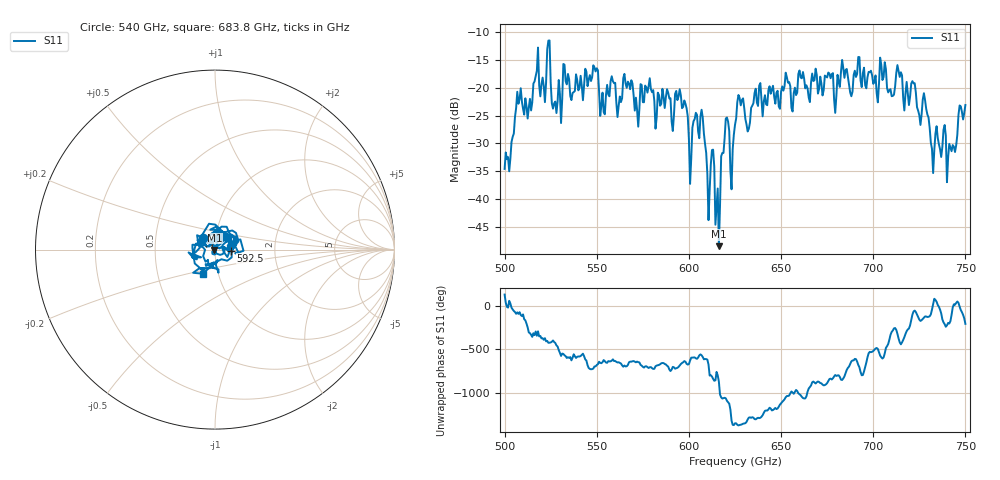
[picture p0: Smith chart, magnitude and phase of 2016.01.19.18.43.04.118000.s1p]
!Created with skrf (http://scikit-rf.org).
# GHz S RI R 50.0
!freq ReS11 ImS11
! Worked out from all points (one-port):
!   401 points, 500 GHz to 750 GHz, reference 50 ohm
!   lowest |S11| = -48.5 dB at 616.2 GHz (marker M1), VSWR 1.01, Z = 49.7 - j0.173 ohm
!   |S11| at or under -10 dB: start of sweep to end of sweep
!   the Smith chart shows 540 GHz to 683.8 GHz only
!   S11 on the Smith chart (normalised r, x): 540 GHz: 0.87, +0.11; 592.5 GHz: 1.19, -0.01; 683.8 GHz: 0.85, -0.23
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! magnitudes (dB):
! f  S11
! 500 GHz  -34.6
! 507.5 GHz  -22.9
! 513.8 GHz  -22.0
! 516.9 GHz  -17.9
! 531.2 GHz  -22.1
! 540 GHz  -20.5
! 562.5 GHz  -21.6
! 565.6 GHz  -19.2
! 571.9 GHz  -24.0
! 592.5 GHz  -21.1
! 593.8 GHz  -22.2
! 600.6 GHz  -37.3
! 607.5 GHz  -25.4
! 610 GHz  -35.5
! 616.2 GHz  -48.5
! 620 GHz  -25.5
! 623.1 GHz  -38.3
! 625 GHz  -26.7
! 628.1 GHz  -23.2
! 631.9 GHz  -27.9
! 637.5 GHz  -23.3
! 656.2 GHz  -24.3
! 683.8 GHz  -16.5
! 687.5 GHz  -20.9
! 705 GHz  -18.6
! 718.8 GHz  -21.0
! 741.2 GHz  -30.1
! 750 GHz  -23.1
